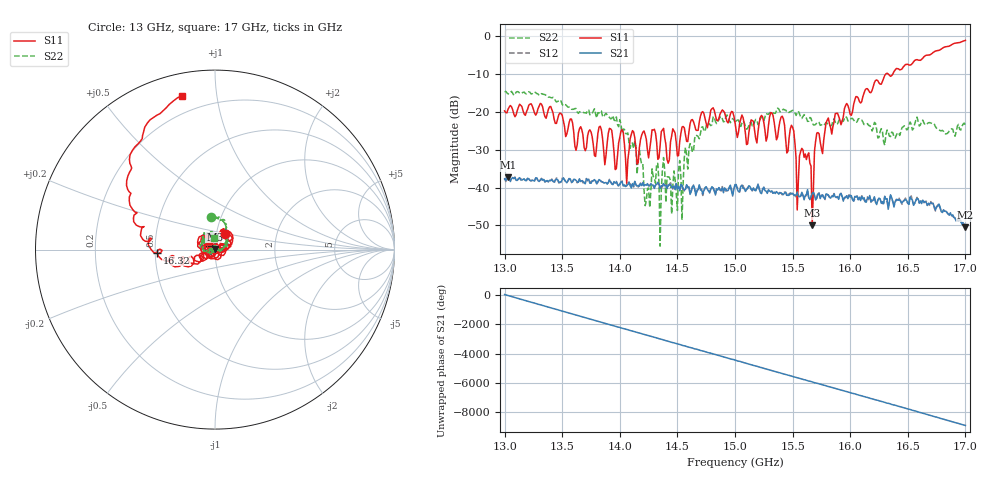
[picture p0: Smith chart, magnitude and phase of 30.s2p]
!Keysight Technologies,P9374A,MY57211807,A.19.30.04
!Date: Friday, May 01, 2026 14:13:08
!Correction: S11(C  2-Port  )
!S21(C  2-Port  )
!S12(C  2-Port  )
!S22(C  2-Port  )
!S2P File: Measurements: S11, S21, S12, S22:
# Hz S  RI  R 50
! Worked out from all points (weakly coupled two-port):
!   401 points, 13 GHz to 17 GHz, reference 50 ohm
!   highest |S21| = -37.30 dB at 13.03 GHz (marker M1); lowest = -50.5 dB at 17 GHz (marker M2)
!   lowest |S11| = -50.0 dB at 15.67 GHz (marker M3), VSWR 1.01, Z = 49.9 + j0.297 ohm
!   |S11| at or under -10 dB: start of sweep to 16.31 GHz; 16.33006 GHz to 16.37019 GHz (40.13 MHz wide, 0.245 % of centre)
!   |S22| runs from -55.5 to -14.6 dB; largest |S21 - S12| = 0.0012
!   S11 on the Smith chart (normalised r, x): 13 GHz: 1.10, +0.19; 16.32 GHz: 0.51, -0.02; 17 GHz: 0.11, +0.80
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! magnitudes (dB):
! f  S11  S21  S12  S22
! 13 GHz  -19.8  -37.7  -37.5  -14.7
! 13.03 GHz  -19.3  -37.3  -37.5  -15.2
! 13.67 GHz  -24.7  -38.2  -38.0  -20.0
! 13.99 GHz  -28.2  -39.5  -39.7  -23.9
! 14.18 GHz  -27.3  -39.0  -38.8  -32.5
! 14.24 GHz  -30.2  -39.0  -39.2  -40.3
! 14.31 GHz  -25.6  -39.3  -39.5  -38.9
! 14.34 GHz  -32.2  -39.2  -39.1  -38.8
! 14.52 GHz  -27.9  -40.8  -40.7  -32.9
! 14.73 GHz  -20.4  -40.8  -40.9  -25.0
! 15 GHz  -22.8  -39.2  -39.7  -22.9
! 15.41 GHz  -21.1  -41.6  -41.9  -19.5
! 15.45 GHz  -30.9  -42.0  -42.3  -20.0
! 15.5 GHz  -24.1  -41.6  -41.5  -19.6
! 15.54 GHz  -45.9  -41.2  -41.5  -20.3
! 15.59 GHz  -30.1  -41.9  -42.2  -21.2
! 15.67 GHz  -50.0  -41.6  -41.4  -22.8
! 15.71 GHz  -25.6  -42.9  -42.7  -22.9
! 15.8 GHz  -22.2  -41.7  -42.0  -23.0
! 16.32 GHz  -9.8  -42.9  -43.7  -24.8
! 16.34 GHz  -10.3  -43.8  -43.5  -26.4
! 17 GHz  -1.1  -50.5  -50.7  -23.5
